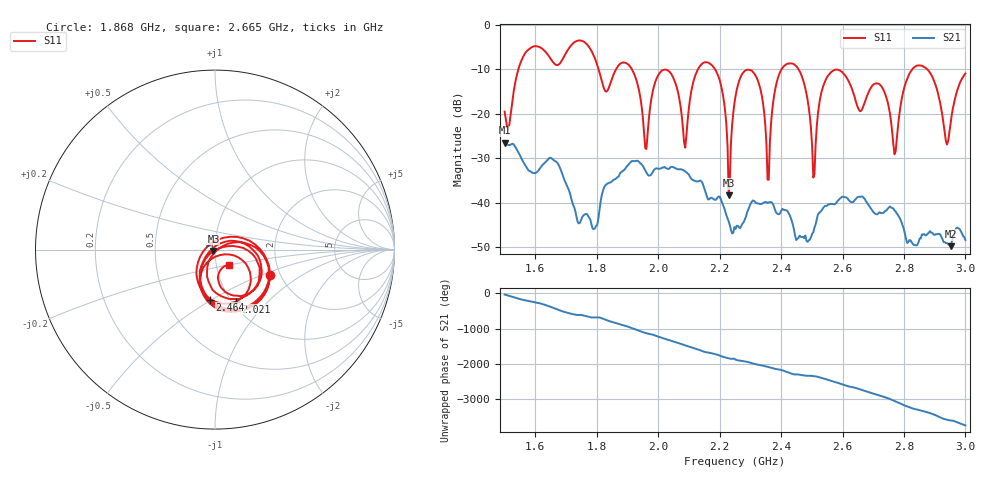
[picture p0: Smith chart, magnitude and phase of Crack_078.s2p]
# HZ S RI R 50
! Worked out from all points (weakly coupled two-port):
!   404 points, 1.5 GHz to 3 GHz, reference 50 ohm
!   highest |S21| = -26.52 dB at 1.5 GHz (marker M1); lowest = -49.8 dB at 2.952 GHz (marker M2)
!   lowest |S11| = -38.4 dB at 2.23 GHz (marker M3), VSWR 1.02, Z = 49.1 - j0.812 ohm
!   |S11| at or under -10 dB: 1.914 GHz to 2.13 GHz (215.8 MHz wide, 10.7 % of centre); 2.185 GHz to 2.402 GHz (217.3 MHz wide, 9.48 % of centre); 2.456 GHz to 2.828 GHz (371.3 MHz wide, 14.1 % of centre) (the widest 3 of 6)
!   S12 and S22 are empty: the file has one direction only
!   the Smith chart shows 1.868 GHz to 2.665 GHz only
!   S11 on the Smith chart (normalised r, x): 1.868 GHz: 1.78, -0.56; 2.021 GHz: 1.04, -0.67; 2.464 GHz: 0.81, -0.49; 2.665 GHz: 1.15, -0.20
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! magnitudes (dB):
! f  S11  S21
! 1.5 GHz  -19.5  -26.5
! 1.753 GHz  -3.7  -43.2
! 1.868 GHz  -9.4  -34.2
! 1.962 GHz  -28.0  -33.2
! 2.002 GHz  -11.1  -32.4
! 2.021 GHz  -10.1  -32.0
! 2.088 GHz  -27.7  -33.0
! 2.181 GHz  -9.6  -39.3
! 2.23 GHz  -38.4  -44.3
! 2.252 GHz  -16.0  -45.9
! 2.315 GHz  -11.3  -39.8
! 2.36 GHz  -34.9  -39.9
! 2.393 GHz  -11.3  -42.6
! 2.464 GHz  -11.0  -47.7
! 2.501 GHz  -27.5  -47.0
! 2.565 GHz  -10.6  -40.3
! 2.665 GHz  -18.8  -38.6
! 2.751 GHz  -18.6  -41.1
! 2.773 GHz  -28.5  -42.0
! 2.855 GHz  -9.2  -48.1
! 2.952 GHz  -22.2  -49.8
! 3 GHz  -11.0  -48.4
